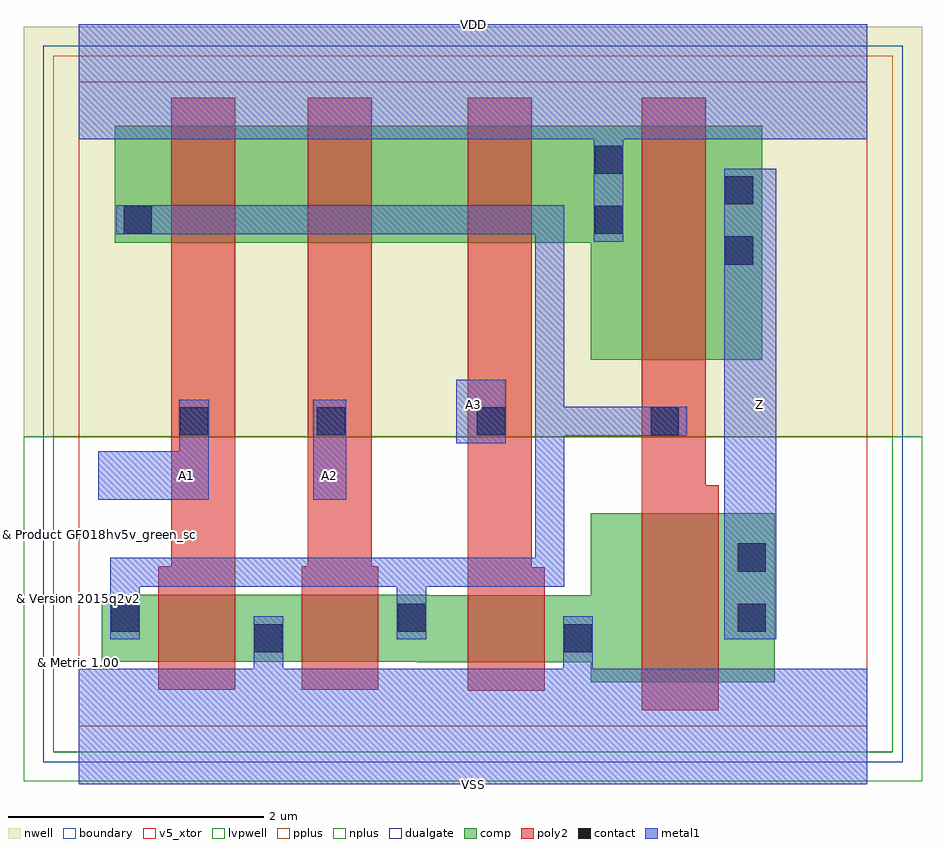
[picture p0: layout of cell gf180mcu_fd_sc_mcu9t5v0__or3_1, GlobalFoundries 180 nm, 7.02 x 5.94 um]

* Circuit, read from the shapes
.subckt gf180mcu_fd_sc_mcu9t5v0__or3_1 A1 A2 A3 VDD VSS Z
XM1 VSS A1 n1 VSUBS nfet_05v0 w=0.525u l=0.6u
XM2 n1 A2 VSS VSUBS nfet_05v0 w=0.525u l=0.6u
XM3 VSS A3 n1 VSUBS nfet_05v0 w=0.525u l=0.6u
XM4 Z n1 VSS VSUBS nfet_05v0 w=1.32u l=0.6u
XM5 n2 A1 n1 n3 pfet_05v0 w=0.915u l=0.5u
XM6 n4 A2 n2 n3 pfet_05v0 w=0.915u l=0.5u
XM7 VDD A3 n4 n3 pfet_05v0 w=0.915u l=0.5u
XM8 Z n1 VDD n3 pfet_05v0 w=1.83u l=0.5u
.ends

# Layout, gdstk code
import gdstk
lib = gdstk.Library(unit=1e-6, precision=1e-09)
def R(c, l, rs):  # rectangles x0, y0, x1, y1
    for r in rs: c.add(gdstk.rectangle(r[:2], r[2:], *l))
def P(c, l, *ps):  # polygons
    for p in ps: c.add(gdstk.Polygon(p, *l))
boundary = (0, 0)
nwell = (21, 0)
comp = (22, 0)
poly2 = (30, 0)
pplus = (31, 0)
nplus = (32, 0)
contact = (33, 0)
metal1 = (34, 0)
dualgate = (55, 0)
v5_xtor = (112, 1)
lvpwell = (204, 0)

gf180mcu_fd_sc_mcu9t5v0_ = lib.new_cell('gf180mcu_fd_sc_mcu9t5v0__or3_1')
R(gf180mcu_fd_sc_mcu9t5v0_, boundary, [(0,0,6.16,5.04)])
R(gf180mcu_fd_sc_mcu9t5v0_, nwell, [(-0.43,2.265,6.59,5.47)])
P(gf180mcu_fd_sc_mcu9t5v0_, comp, [(4,2.865),(4,3.78),(0.28,3.78),(0.28,4.695),(5.34,4.695),(5.34,2.865)],
  [(4,0.345),(4,0.5),(2.64,0.5),(2.64,0.505),(0.18,0.505),(0.18,1.03),(2.74,1.03),(2.74,1.025),(4,1.025),(4,1.665),(5.44,1.665),(5.44,0.345)])
P(gf180mcu_fd_sc_mcu9t5v0_, poly2, [(0.62,0.285),(0.62,1.25),(0.72,1.25),(0.72,4.915),(1.22,4.915),(1.22,0.285)],
  [(1.74,0.285),(1.74,1.25),(1.79,1.25),(1.79,4.915),(2.29,4.915),(2.29,1.25),(2.34,1.25),(2.34,0.285)],
  [(3.04,0.28),(3.04,4.915),(3.54,4.915),(3.54,1.245),(3.64,1.245),(3.64,0.28)],
  [(4.4,0.125),(4.4,4.915),(4.9,4.915),(4.9,1.885),(5,1.885),(5,0.125)])
R(gf180mcu_fd_sc_mcu9t5v0_, pplus, [(-0.2,2.265,6.36,5.24)])
R(gf180mcu_fd_sc_mcu9t5v0_, nplus, [(-0.2,-0.2,6.36,2.265)])
R(gf180mcu_fd_sc_mcu9t5v0_, contact, [(1.37,0.58,1.59,0.8), (3.79,0.58,4.01,0.8), (0.25,0.74,0.47,0.96), (2.49,0.74,2.71,0.96), (5.15,0.74,5.37,0.96), (5.15,1.21,5.37,1.43), (0.79,2.275,1.01,2.495), (1.86,2.275,2.08,2.495), (3.11,2.275,3.33,2.495), (4.47,2.275,4.69,2.495), (5.05,3.61,5.27,3.83), (0.35,3.85,0.57,4.07), (4.03,3.85,4.25,4.07), (5.05,4.08,5.27,4.3), (4.03,4.32,4.25,4.54)])
R(gf180mcu_fd_sc_mcu9t5v0_, metal1, [(5.045,0.68,5.45,4.36), (1.83,1.77,2.09,2.555), (2.95,2.215,3.335,2.71)])
P(gf180mcu_fd_sc_mcu9t5v0_, metal1, [(0.15,1.77),(0.15,2.15),(0.785,2.15),(0.785,2.555),(1.015,2.555),(1.015,1.77)],
  [(0.245,0.68),(0.245,1.32),(3.565,1.32),(3.565,3.845),(0.29,3.845),(0.29,4.075),(3.795,4.075),(3.795,2.5),(4.75,2.5),(4.75,2.27),(3.795,2.27),(3.795,1.09),(2.715,1.09),(2.715,0.68),(2.485,0.68),(2.485,1.09),(0.475,1.09),(0.475,0.68)],
  [(0,-0.45),(0,0.45),(1.365,0.45),(1.365,0.86),(1.595,0.86),(1.595,0.45),(3.785,0.45),(3.785,0.86),(4.015,0.86),(4.015,0.45),(6.16,0.45),(6.16,-0.45)],
  [(4.025,3.79),(4.025,4.59),(0,4.59),(0,5.49),(6.16,5.49),(6.16,4.59),(4.255,4.59),(4.255,3.79)])
R(gf180mcu_fd_sc_mcu9t5v0_, dualgate, [(-0.28,-0.28,6.44,5.32)])
R(gf180mcu_fd_sc_mcu9t5v0_, v5_xtor, [(0,0,6.16,5.04)])
R(gf180mcu_fd_sc_mcu9t5v0_, lvpwell, [(-0.43,-0.43,6.59,2.265)])
gf180mcu_fd_sc_mcu9t5v0_.add(gdstk.Label('A1', (0.84,1.96), layer=34, texttype=10))
gf180mcu_fd_sc_mcu9t5v0_.add(gdstk.Label('A2', (1.96,1.96), layer=34, texttype=10))
gf180mcu_fd_sc_mcu9t5v0_.add(gdstk.Label('A3', (3.08,2.52), layer=34, texttype=10))
gf180mcu_fd_sc_mcu9t5v0_.add(gdstk.Label('VDD', (3.08,5.49), layer=34, texttype=10))
gf180mcu_fd_sc_mcu9t5v0_.add(gdstk.Label('VSS', (3.08,-0.45), layer=34, texttype=10))
gf180mcu_fd_sc_mcu9t5v0_.add(gdstk.Label('Z', (5.32,2.52), layer=34, texttype=10))
gf180mcu_fd_sc_mcu9t5v0_.add(gdstk.Label('& Vendor GLOBALFOUNDRIES', (0,2), layer=63, texttype=63))
gf180mcu_fd_sc_mcu9t5v0_.add(gdstk.Label('& Product GF018hv5v_green_sc9', (0,1.5), layer=63, texttype=63))
gf180mcu_fd_sc_mcu9t5v0_.add(gdstk.Label('& Version 2015q2v2', (0,1), layer=63, texttype=63))
gf180mcu_fd_sc_mcu9t5v0_.add(gdstk.Label('& Metric 1.00', (0,0.5), layer=63, texttype=63))

lib.write_gds('gf180mcu_fd_sc_mcu9t5v0__or3_1.gds')
